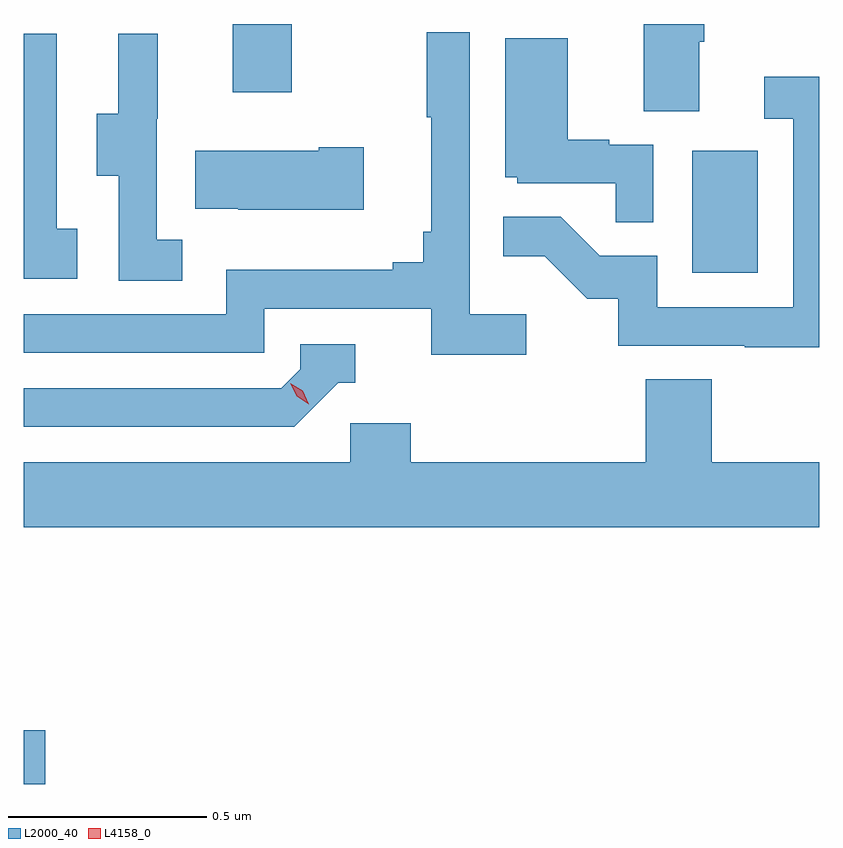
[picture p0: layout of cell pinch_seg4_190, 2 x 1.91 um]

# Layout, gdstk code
import gdstk
lib = gdstk.Library(unit=1e-6, precision=1e-09)
def R(c, l, rs):  # rectangles x0, y0, x1, y1
    for r in rs: c.add(gdstk.rectangle(r[:2], r[2:], *l))
def P(c, l, *ps):  # polygons
    for p in ps: c.add(gdstk.Polygon(p, *l))
L2000_40 = (2000, 40)
L4158_0 = (4158, 0)

pinch_seg4_190 = lib.new_cell('pinch_seg4_190')
R(pinch_seg4_190, L2000_40, [(1107.625,804.167,1107.679,804.302), (1109.306,805.452,1109.47,805.759), (1108.151,805.905,1108.299,806.077)])
P(pinch_seg4_190, L2000_40, [(1109.323,806.032),(1109.336,806.032),(1109.336,806.077),(1109.183,806.077),(1109.183,805.858),(1109.323,805.858)],
  [(1108.888,805.348),(1108.746,805.348),(1108.746,806.056),(1108.638,806.056),(1108.638,805.843),(1108.649,805.843),(1108.649,805.555),(1108.63,805.555),(1108.63,805.478),(1108.553,805.478),(1108.553,805.459),(1108.134,805.459),(1108.134,805.347),(1107.625,805.347),(1107.625,805.251),(1108.23,805.251),(1108.23,805.362),(1108.649,805.362),(1108.649,805.246),(1108.888,805.246)],
  [(1108.024,805.535),(1107.96,805.535),(1107.96,805.839),(1107.962,805.839),(1107.962,806.053),(1107.863,806.053),(1107.863,805.851),(1107.809,805.851),(1107.809,805.696),(1107.864,805.696),(1107.864,805.432),(1108.024,805.432)],
  [(1107.76,805.562),(1107.708,805.562),(1107.708,806.053),(1107.625,806.053),(1107.625,805.437),(1107.76,805.437)],
  [(1109.208,805.773),(1109.097,805.773),(1109.097,805.786),(1108.993,805.786),(1108.993,806.041),(1108.835,806.041),(1108.835,805.692),(1108.866,805.692),(1108.866,805.677),(1109.113,805.677),(1109.113,805.579),(1109.208,805.579)],
  [(1109.625,805.945),(1109.487,805.945),(1109.487,805.839),(1109.559,805.839),(1109.559,805.365),(1109.217,805.365),(1109.217,805.494),(1109.073,805.494),(1108.975,805.592),(1108.831,805.592),(1108.831,805.493),(1108.935,805.493),(1109.042,805.386),(1109.119,805.386),(1109.119,805.269),(1109.437,805.269),(1109.437,805.264),(1109.625,805.264)],
  [(1108.48,805.767),(1108.367,805.767),(1108.367,805.759),(1108.057,805.759),(1108.057,805.613),(1108.165,805.613),(1108.165,805.61),(1108.48,805.61)],
  [(1108.416,805.176),(1108.459,805.176),(1108.459,805.272),(1108.32,805.272),(1108.32,805.209),(1108.272,805.161),(1107.625,805.161),(1107.625,805.065),(1108.305,805.065)],
  [(1109.625,804.976),(1109.354,804.976),(1109.354,805.184),(1109.189,805.184),(1109.189,804.976),(1108.598,804.976),(1108.598,805.074),(1108.446,805.074),(1108.446,804.976),(1107.625,804.976),(1107.625,804.812),(1109.625,804.812)])
P(pinch_seg4_190, L4158_0, [(1108.342,805.122),(1108.311,805.141),(1108.295,805.174),(1108.295,805.174),(1108.295,805.174),(1108.326,805.155),(1108.342,805.122),(1108.342,805.122)])

lib.write_gds('pinch_seg4_190.gds')
